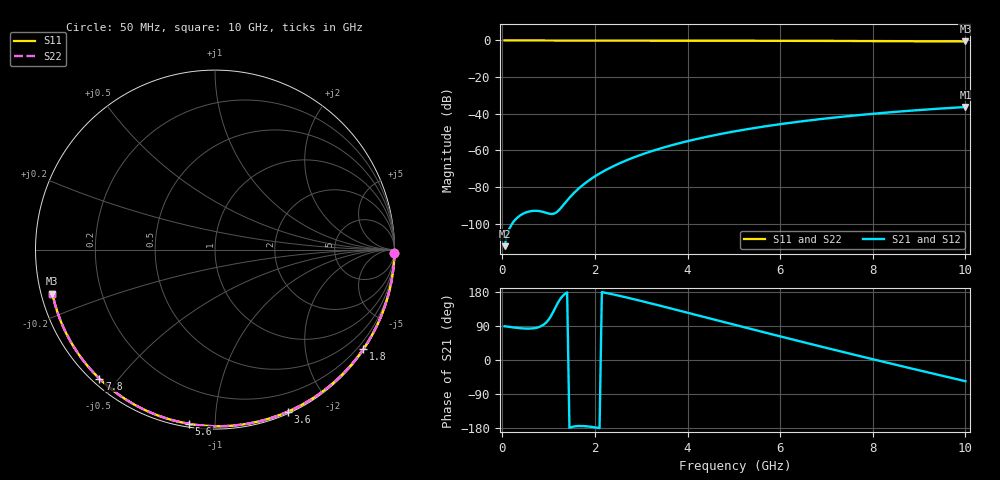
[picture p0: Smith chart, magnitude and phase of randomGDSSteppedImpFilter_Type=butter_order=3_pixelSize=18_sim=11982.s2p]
! freq	dB(S11)	phase(S11)	dB(S12)	phase(S12)
!  dB(S21)	phase(S21)	dB(S22)	phase(S22)
!S-par simulation data
#  GHz  S  DB  R 50
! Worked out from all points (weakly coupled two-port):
!   200 points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, 50 MHz to 10 GHz, reference 50 ohm
!   highest |S21| = -36.35 dB at 10 GHz (marker M1); lowest = -112.3 dB at 50 MHz (marker M2)
!   lowest |S11| = -0.5 dB at 10 GHz (marker M3), VSWR 31.63, Z = 1.61 - j6.64 ohm
!   |S11| at or under -10 dB: nowhere
!   |S22| runs from -0.5 to 0.0 dB; largest |S21 - S12| = 0
!   S11 on the Smith chart (normalised r, x): 50 MHz: open; 1.8 GHz: 0.03, -3.28; 3.6 GHz: 0.02, -1.54; 5.6 GHz: 0.02, -0.86; 7.8 GHz: 0.02, -0.45; 10 GHz: 0.03, -0.13
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0.05  -0.00 -1.0  -112.33 89.1  -112.33 89.1  -0.00 -1.0
0.45  -0.01 -8.6  -94.60 83.3  -94.60 83.3  -0.01 -8.6
0.85  -0.02 -16.2  -93.42 90.0  -93.42 90.0  -0.02 -16.2
1.65  -0.04 -31.1  -80.85 -174.3  -80.85 -174.3  -0.04 -31.1
1.7  -0.04 -32.1  -79.75 -174.2  -79.75 -174.2  -0.04 -32.0
1.75  -0.04 -33.0  -78.72 -174.4  -78.72 -174.4  -0.04 -33.0
1.8  -0.04 -33.9  -77.73 -174.8  -77.73 -174.8  -0.04 -33.9
2.1  -0.05 -39.4  -72.67 -179.8  -72.67 -179.8  -0.05 -39.4
2.3  -0.05 -43.0  -69.89 175.5  -69.89 175.5  -0.05 -43.0
2.5  -0.06 -46.6  -67.44 170.2  -67.44 170.2  -0.06 -46.6
2.9  -0.07 -53.7  -63.29 158.7  -63.29 158.7  -0.07 -53.7
3.4  -0.08 -62.4  -59.07 143.5  -59.07 143.5  -0.08 -62.4
3.6  -0.09 -65.9  -57.61 137.3  -57.61 137.3  -0.09 -65.9
4.3  -0.11 -77.6  -53.23 115.4  -53.23 115.4  -0.11 -77.6
5.05  -0.14 -89.8  -49.49 91.8  -49.49 91.8  -0.14 -89.8
5.6  -0.16 -98.5  -47.19 74.7  -47.19 74.7  -0.16 -98.5
6.15  -0.19 -107.1  -45.19 57.7  -45.19 57.7  -0.19 -107.0
6.7  -0.23 -115.4  -43.44 40.9  -43.44 40.9  -0.23 -115.4
7.8  -0.31 -131.8  -40.51 7.9  -40.51 7.9  -0.31 -131.8
8.35  -0.36 -140.0  -39.28 -8.3  -39.28 -8.3  -0.36 -140.0
9.2  -0.45 -152.7  -37.64 -33.0  -37.64 -33.0  -0.45 -152.7
10  -0.55 -164.8  -36.35 -56.0  -36.35 -56.0  -0.55 -164.8
